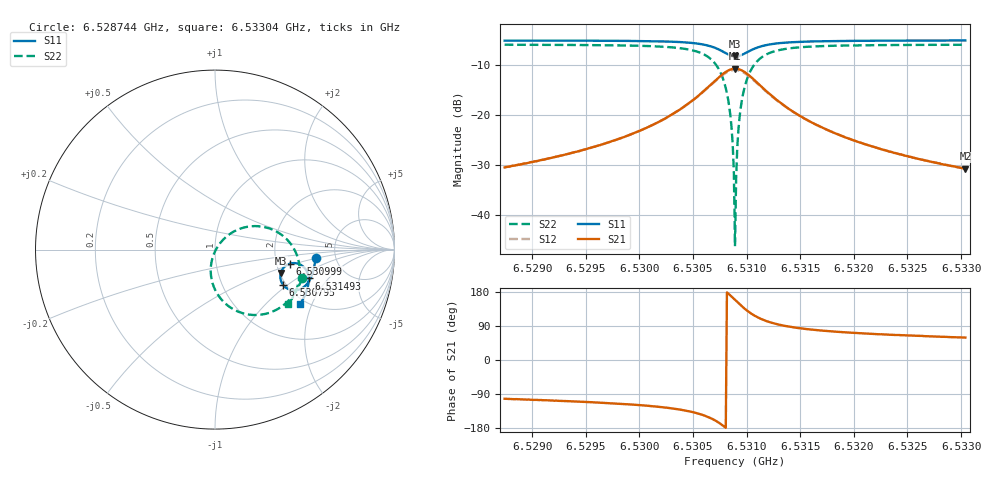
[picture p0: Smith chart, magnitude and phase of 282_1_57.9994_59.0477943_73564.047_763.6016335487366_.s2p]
#  HZ  S  RI  R  50.00
! Rohde & Schwarz Vector Network Analyzer
! Rohde-Schwarz,ZNB20-2Port,1311601062101988,3.16
! Created: UTC 3/21/2024, 1:02:55 AM
! freq[Hz]  re:S11  im:S11  re:S21  im:S21  re:S12  im:S12  re:S22  im:S22
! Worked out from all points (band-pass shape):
!   401 points, 6.528744 GHz to 6.53304 GHz, reference 50 ohm
!   highest |S21| = -10.65 dB at 6.530892 GHz (marker M1); lowest = -30.8 dB at 6.53304 GHz (marker M2)
!   |S21| within 3 dB of the highest: 6.530677 GHz to 6.531108 GHz (430.2 kHz wide, 0.00659 % of centre)
!   lowest |S11| = -8.2 dB at 6.530892 GHz (marker M3), VSWR 2.27, Z = 102 - j31 ohm
!   |S11| at or under -10 dB: nowhere
!   |S22| runs from -46.4 to -5.8 dB; largest |S21 - S12| = 0.011
!   S11 on the Smith chart (normalised r, x): 6.528744 GHz: 3.50, -0.46; 6.530795 GHz: 1.93, -0.92; 6.530999 GHz: 2.38, -0.45; 6.531493 GHz: 2.76, -1.26; 6.53304 GHz: 1.86, -1.65
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6.5287438e9  0.5601 -0.0454  -0.00633 -0.0291  -0.00704 -0.0291  0.4857 -0.1581
6.5294634e9  0.5511 -0.105  -0.0153 -0.0415  -0.0163 -0.0412  0.4558 -0.2228
6.530183e9  0.5243 -0.1755  -0.0475 -0.0713  -0.0494 -0.0702  0.3776 -0.3125
6.5306126e9  0.4563 -0.2259  -0.1508 -0.097  -0.153 -0.0908  0.1795 -0.3603
6.53072e9  0.4129 -0.2218  -0.2175 -0.072  -0.217 -0.0631  0.0666 -0.3082
6.5307952e9  0.379 -0.196  -0.267 -0.0161  -0.2616 -0.00669  -0.00723 -0.2062
6.5308274e9  0.3685 -0.1769  -0.2801 0.0209  -0.2727 0.0292  -0.0226 -0.1427
6.5308489e9  0.3647 -0.1619  -0.2833 0.0487  -0.2746 0.0558  -0.0231 -0.0964
6.5308596e9  0.364 -0.1538  -0.2831 0.0633  -0.2738 0.0696  -0.0201 -0.0725
6.5308704e9  0.3641 -0.1458  -0.2813 0.0779  -0.2716 0.0834  -0.0146 -0.0489
6.5308811e9  0.3651 -0.1377  -0.2782 0.0924  -0.2681 0.0969  -0.00674 -0.0258
6.5308919e9  0.3669 -0.1296  -0.2734 0.1066  -0.2632 0.1103  0.00325 -0.00354
6.5309133e9  0.373 -0.1145  -0.26 0.1333  -0.2498 0.1351  0.0299 0.0376
6.5309241e9  0.3774 -0.1076  -0.2515 0.1453  -0.2415 0.1463  0.0459 0.0557
6.5309456e9  0.3876 -0.0955  -0.2314 0.1662  -0.2222 0.1659  0.082 0.0865
6.5309993e9  0.4193 -0.0777  -0.1741 0.1974  -0.1673 0.1948  0.1822 0.1274
6.5310637e9  0.4552 -0.0766  -0.1107 0.2016  -0.1071 0.1986  0.2882 0.1223
6.5311604e9  0.4912 -0.0945  -0.0487 0.1774  -0.0469 0.1755  0.3889 0.0679
6.5314933e9  0.5219 -0.1609  0.0105 0.0982  0.0116 0.0978  0.4714 -0.0967
6.5316115e9  0.5218 -0.178  0.0145 0.0826  0.0156 0.0824  0.4724 -0.1311
6.532331e9  0.5028 -0.2502  0.0169 0.0395  0.0177 0.0393  0.4441 -0.2451
6.5330399e9  0.4759 -0.3028  0.0148 0.0248  0.0153 0.0247  0.409 -0.3055
